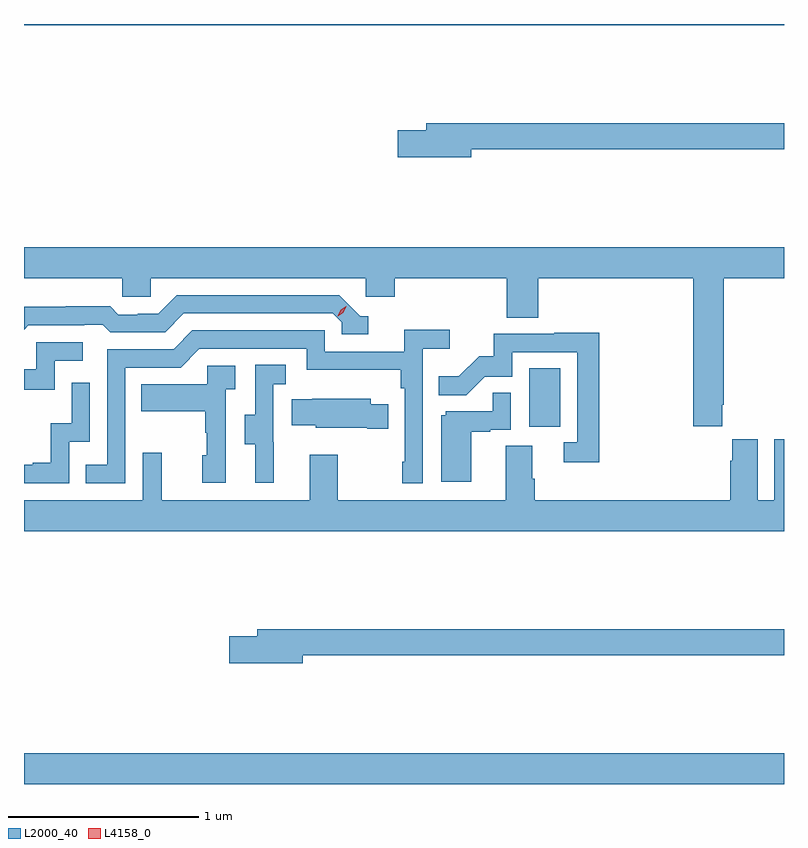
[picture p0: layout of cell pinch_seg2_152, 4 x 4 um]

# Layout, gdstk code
import gdstk
lib = gdstk.Library(unit=1e-6, precision=1e-09)
def R(c, l, rs):  # rectangles x0, y0, x1, y1
    for r in rs: c.add(gdstk.rectangle(r[:2], r[2:], *l))
def P(c, l, *ps):  # polygons
    for p in ps: c.add(gdstk.Polygon(p, *l))
L2000_40 = (2000, 40)
L4158_0 = (4158, 0)

pinch_seg2_152 = lib.new_cell('pinch_seg2_152')
R(pinch_seg2_152, L2000_40, [(1118.413,636.982,1122.413,637.144), (1121.072,638.862,1121.236,639.169), (1118.413,640.976,1122.413,640.982)])
P(pinch_seg2_152, L2000_40, [(1120.768,640.324),(1122.413,640.324),(1122.413,640.46),(1120.529,640.46),(1120.529,640.424),(1120.38,640.424),(1120.38,640.282),(1120.768,640.282)],
  [(1118.413,639.644),(1118.931,639.644),(1118.931,639.546),(1119.081,639.546),(1119.081,639.644),(1120.212,639.644),(1120.212,639.546),(1120.364,639.546),(1120.364,639.644),(1120.955,639.644),(1120.955,639.436),(1121.12,639.436),(1121.12,639.644),(1121.936,639.644),(1121.936,638.865),(1122.089,638.865),(1122.089,638.977),(1122.096,638.977),(1122.096,639.644),(1122.413,639.644),(1122.413,639.808),(1118.413,639.808)],
  [(1120.225,639.444),(1120.182,639.444),(1120.071,639.555),(1119.218,639.555),(1119.119,639.456),(1119.012,639.456),(1119.012,639.453),(1118.909,639.453),(1118.867,639.496),(1118.634,639.496),(1118.634,639.493),(1118.413,639.493),(1118.413,639.373),(1118.436,639.396),(1118.729,639.396),(1118.729,639.399),(1118.828,639.399),(1118.867,639.36),(1119.156,639.36),(1119.255,639.459),(1120.038,639.459),(1120.086,639.411),(1120.086,639.348),(1120.225,639.348)],
  [(1118.946,639.174),(1119.237,639.174),(1119.336,639.273),(1119.9,639.273),(1119.9,639.161),(1120.396,639.161),(1120.396,639.065),(1120.416,639.065),(1120.416,638.677),(1120.404,638.677),(1120.404,638.565),(1120.512,638.565),(1120.512,639.272),(1120.654,639.272),(1120.654,639.374),(1120.415,639.374),(1120.415,639.258),(1119.996,639.258),(1119.996,639.369),(1119.299,639.369),(1119.2,639.27),(1118.85,639.27),(1118.85,638.661),(1118.737,638.661),(1118.737,638.565),(1118.946,638.565)],
  [(1121.441,639.356),(1121.203,639.356),(1121.203,639.351),(1120.885,639.351),(1120.885,639.234),(1120.808,639.234),(1120.701,639.127),(1120.597,639.127),(1120.597,639.028),(1120.741,639.028),(1120.839,639.126),(1120.983,639.126),(1120.983,639.255),(1121.325,639.255),(1121.325,638.781),(1121.253,638.781),(1121.253,638.676),(1121.441,638.676)],
  [(1118.574,639.21),(1118.722,639.21),(1118.722,639.306),(1118.478,639.306),(1118.478,639.165),(1118.413,639.165),(1118.413,639.057),(1118.574,639.057)],
  [(1119.728,638.781),(1119.726,638.781),(1119.726,639.085),(1119.79,639.085),(1119.79,639.188),(1119.63,639.188),(1119.63,638.925),(1119.575,638.925),(1119.575,638.77),(1119.629,638.77),(1119.629,638.568),(1119.728,638.568)],
  [(1119.474,639.059),(1119.526,639.059),(1119.526,639.183),(1119.378,639.183),(1119.378,639.085),(1119.031,639.085),(1119.031,638.945),(1119.366,638.945),(1119.366,638.831),(1119.376,638.831),(1119.376,638.712),(1119.35,638.712),(1119.35,638.568),(1119.474,638.568)],
  [(1118.652,638.784),(1118.76,638.784),(1118.76,639.094),(1118.664,639.094),(1118.664,638.882),(1118.555,638.882),(1118.555,638.674),(1118.459,638.674),(1118.459,638.661),(1118.413,638.661),(1118.413,638.565),(1118.652,638.565)],
  [(1120.768,638.835),(1120.868,638.835),(1120.868,638.847),(1120.974,638.847),(1120.974,639.041),(1120.879,639.041),(1120.879,638.943),(1120.632,638.943),(1120.632,638.922),(1120.61,638.922),(1120.61,638.574),(1120.768,638.574)],
  [(1120.331,638.98),(1120.237,638.98),(1120.237,639.01),(1119.931,639.01),(1119.931,639.007),(1119.823,639.007),(1119.823,638.87),(1119.948,638.87),(1119.948,638.858),(1120.22,638.858),(1120.22,638.851),(1120.331,638.851)],
  [(1122.413,638.797),(1122.362,638.797),(1122.362,638.476),(1122.274,638.476),(1122.274,638.797),(1122.14,638.797),(1122.14,638.684),(1122.131,638.684),(1122.131,638.476),(1121.102,638.476),(1121.102,638.588),(1121.089,638.588),(1121.089,638.762),(1120.949,638.762),(1120.949,638.476),(1120.065,638.476),(1120.065,638.716),(1119.917,638.716),(1119.917,638.476),(1119.137,638.476),(1119.137,638.725),(1119.039,638.725),(1119.039,638.476),(1118.413,638.476),(1118.413,638.312),(1122.413,638.312)],
  [(1119.88,637.66),(1122.413,637.66),(1122.413,637.796),(1119.641,637.796),(1119.641,637.76),(1119.492,637.76),(1119.492,637.618),(1119.88,637.618)])
P(pinch_seg2_152, L4158_0, [(1120.063,639.445),(1120.063,639.445),(1120.079,639.477),(1120.11,639.496),(1120.11,639.496),(1120.11,639.495),(1120.094,639.463),(1120.063,639.445)])

lib.write_gds('pinch_seg2_152.gds')
